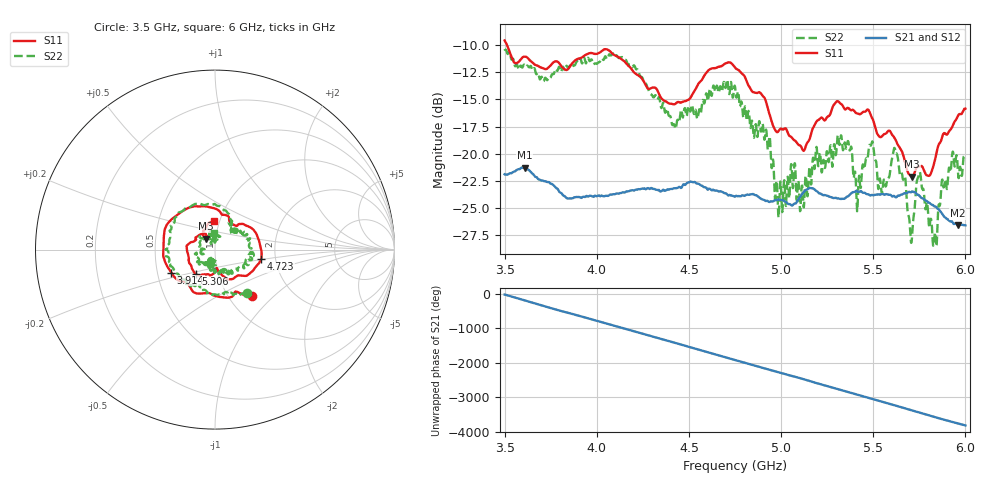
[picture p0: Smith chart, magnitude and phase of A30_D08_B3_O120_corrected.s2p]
! Created with skrf 1.9.0 (http://scikit-rf.org).
# Hz S RI R 50.0
!freq ReS11 ImS11 ReS21 ImS21 ReS12 ImS12 ReS22 ImS22
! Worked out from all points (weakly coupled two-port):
!   1601 points, 3.5 GHz to 6 GHz, reference 50 ohm
!   highest |S21| = -21.27 dB at 3.609 GHz (marker M1); lowest = -26.6 dB at 5.958 GHz (marker M2)
!   lowest |S11| = -22.1 dB at 5.711 GHz (marker M3), VSWR 1.17, Z = 45 + j5.49 ohm
!   |S11| at or under -10 dB: 3.512 GHz to end of sweep
!   |S22| runs from -28.5 to -10.4 dB; largest |S21 - S12| = 0.0012
!   S11 on the Smith chart (normalised r, x): 3.5 GHz: 1.27, -0.74; 3.914 GHz: 0.59, -0.16; 4.723 GHz: 1.68, -0.19; 5.306 GHz: 0.78, -0.22; 6 GHz: 0.93, +0.31
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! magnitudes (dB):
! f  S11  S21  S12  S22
! 3.5 GHz  -9.6  -21.9  -21.9  -10.4
! 3.609 GHz  -11.1  -21.3  -21.3  -11.9
! 3.914 GHz  -11.2  -24.0  -24.0  -11.4
! 3.917 GHz  -11.2  -24.1  -24.0  -11.6
! 4.334 GHz  -14.4  -23.3  -23.3  -14.9
! 4.42 GHz  -15.5  -23.2  -23.2  -17.4
! 4.723 GHz  -11.6  -23.8  -23.7  -14.0
! 4.75 GHz  -12.1  -23.9  -23.9  -13.8
! 4.928 GHz  -15.8  -24.3  -24.3  -19.6
! 4.978 GHz  -18.0  -24.3  -24.2  -22.8
! 5.167 GHz  -17.9  -23.2  -23.2  -21.8
! 5.306 GHz  -15.2  -24.1  -24.0  -18.4
! 5.42 GHz  -16.3  -23.5  -23.5  -22.5
! 5.487 GHz  -16.5  -23.8  -23.8  -19.2
! 5.584 GHz  -17.9  -23.8  -23.7  -22.2
! 5.623 GHz  -18.8  -24.0  -24.0  -19.9
! 5.711 GHz  -22.1  -23.5  -23.4  -27.5
! 5.748 GHz  -21.2  -23.8  -23.8  -21.8
! 5.834 GHz  -20.6  -24.8  -24.8  -27.2
! 5.88 GHz  -18.2  -25.7  -25.6  -22.9
! 5.958 GHz  -16.6  -26.6  -26.5  -21.3
! 6 GHz  -15.9  -26.6  -26.6  -20.4
